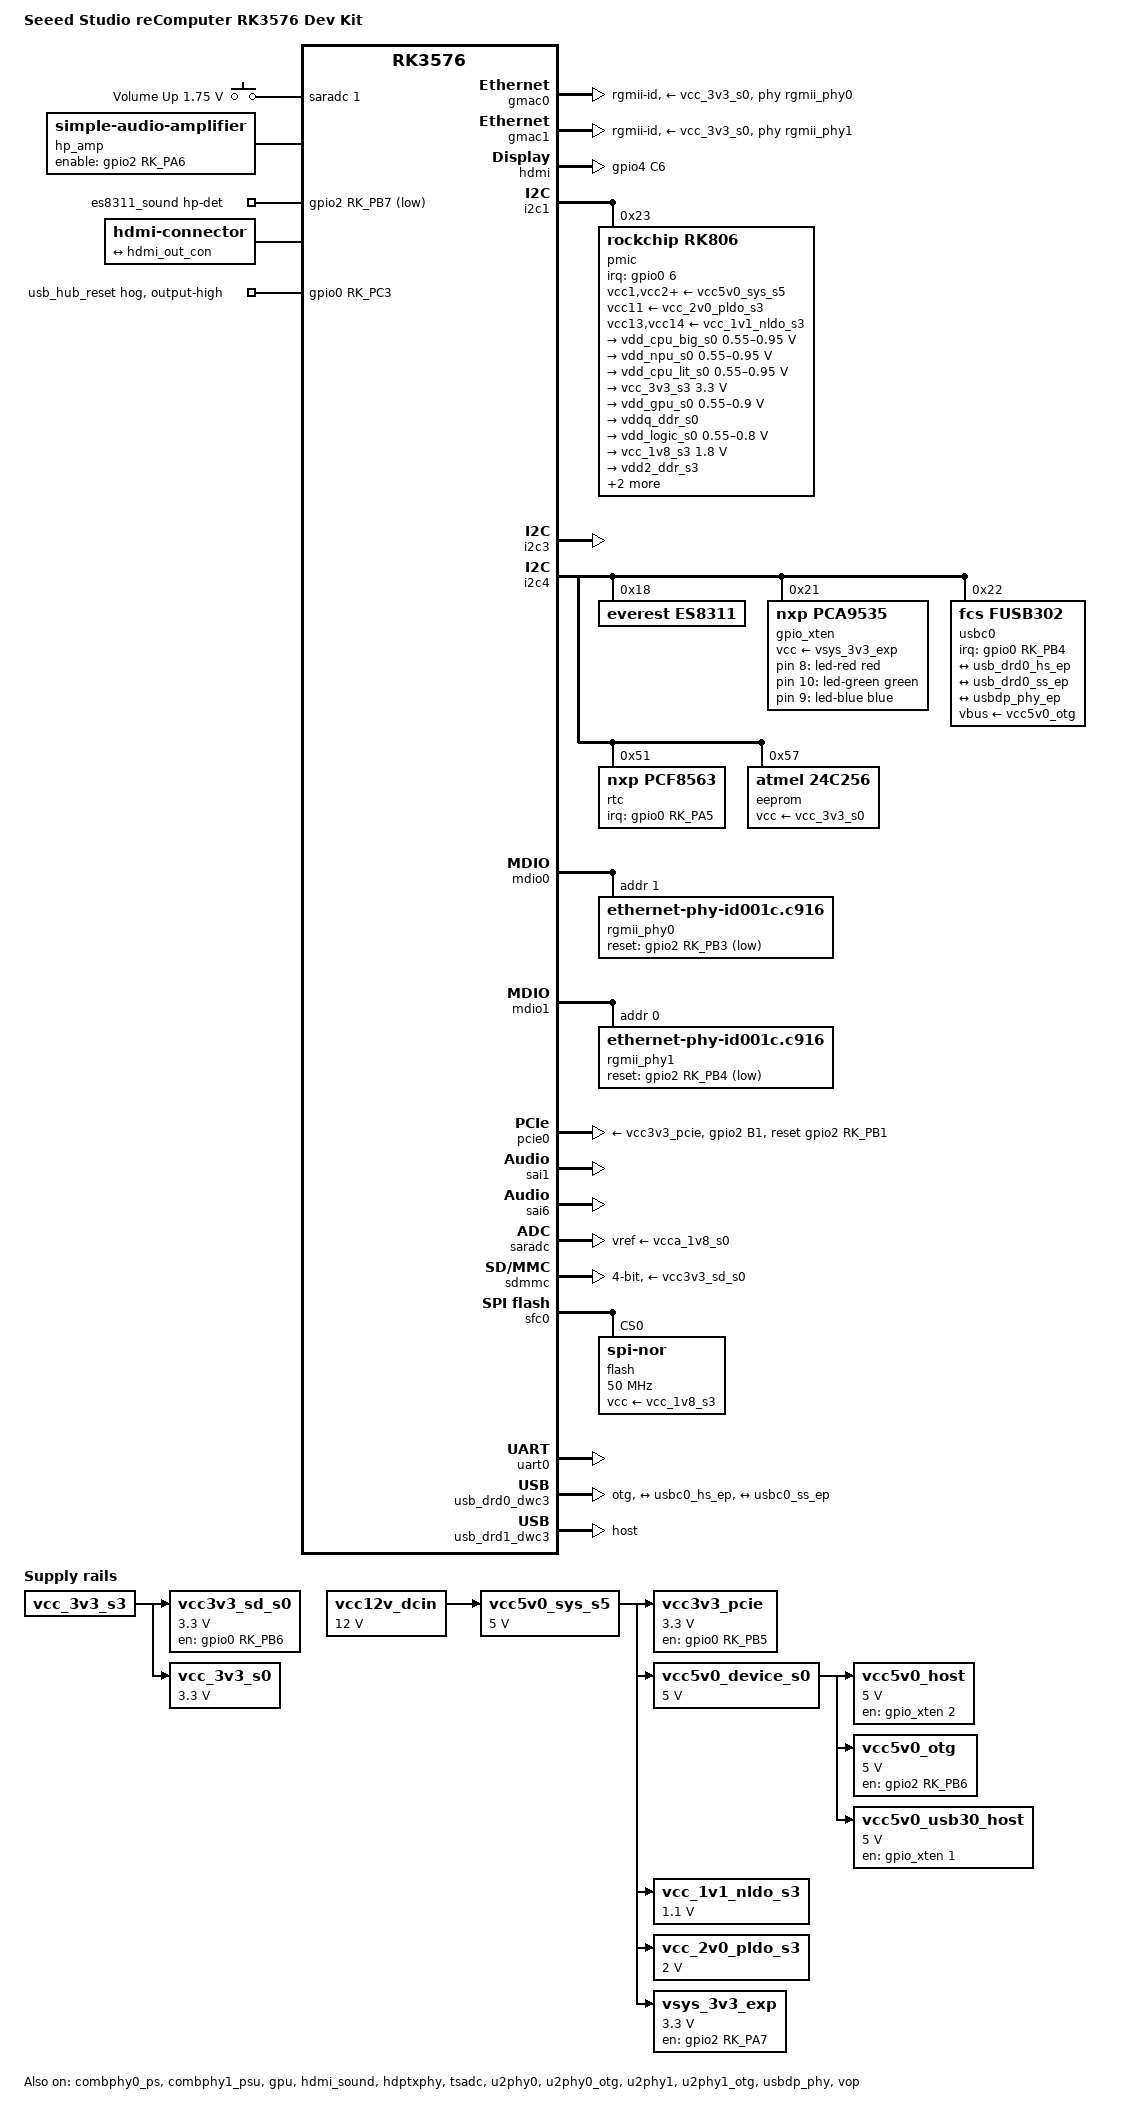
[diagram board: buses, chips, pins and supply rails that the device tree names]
// SPDX-License-Identifier: (GPL-2.0+ OR MIT)
/*
 * Copyright (c) 2026 Ricardo Pardini <ricardo@pardini.net>
 */

/dts-v1/;

#include <dt-bindings/gpio/gpio.h>
#include <dt-bindings/input/input.h>
#include <dt-bindings/leds/common.h>
#include <dt-bindings/pinctrl/rockchip.h>
#include <dt-bindings/soc/rockchip,vop2.h>
#include <dt-bindings/usb/pd.h>
#include "rk3576.dtsi"

/ {
	model = "Seeed Studio reComputer RK3576 Dev Kit";
	compatible = "seeed,recomputer-rk3576-devkit", "rockchip,rk3576";

	adc-keys {
		compatible = "adc-keys";
		io-channels = <&saradc 1>;
		io-channel-names = "buttons";
		keyup-threshold-microvolt = <1800000>;

		button-vol-up {
			label = "Volume Up";
			linux,code = <KEY_VOLUMEUP>;
			press-threshold-microvolt = <1750000>;
		};
	};

	aliases {
		ethernet0 = &gmac0;
		ethernet1 = &gmac1;
		mmc0 = &sdmmc;
	};

	/* Headphone output switch (ES8311 differential OUT to the jack). */
	hp_amp: audio-amplifier {
		compatible = "simple-audio-amplifier";
		enable-gpios = <&gpio2 RK_PA6 GPIO_ACTIVE_HIGH>;
		pinctrl-names = "default";
		pinctrl-0 = <&hp_con>;
		sound-name-prefix = "Headphone Amp";
	};

	chosen {
		stdout-path = "serial0:1500000n8";
	};

	es8311_sound: es8311-sound {
		compatible = "simple-audio-card";
		pinctrl-names = "default";
		pinctrl-0 = <&hp_det>;
		simple-audio-card,name = "reComputer ES8311";
		simple-audio-card,format = "i2s";
		simple-audio-card,mclk-fs = <256>;
		simple-audio-card,aux-devs = <&hp_amp>;
		simple-audio-card,hp-det-gpios = <&gpio2 RK_PB7 GPIO_ACTIVE_LOW>;
		simple-audio-card,widgets = "Headphone", "Headphones",
					    "Microphone", "Headset Mic";
		simple-audio-card,routing = "Headphones", "Headphone Amp OUTL",
					    "Headphones", "Headphone Amp OUTR",
					    "Headphone Amp INL", "OUT",
					    "Headphone Amp INR", "OUT",
					    "MIC1", "Headset Mic";

		simple-audio-card,cpu {
			sound-dai = <&sai1>;
		};

		simple-audio-card,codec {
			sound-dai = <&es8311>;
			system-clock-frequency = <12288000>;
		};
	};

	hdmi-con {
		compatible = "hdmi-connector";
		type = "a";

		port {
			hdmi_con_in: endpoint {
				remote-endpoint = <&hdmi_out_con>;
			};
		};
	};

	/*
	 * LED2 is a common-anode RGB LED tied to vsys_3v3_exp; each colour is
	 * switched by an NMOS driven from the on-board PCA9535 GPIO expander.
	 */
	leds {
		compatible = "gpio-leds";

		led-red {
			color = <LED_COLOR_ID_RED>;
			function = LED_FUNCTION_INDICATOR;
			gpios = <&gpio_xten 8 GPIO_ACTIVE_HIGH>;
		};

		led-green {
			color = <LED_COLOR_ID_GREEN>;
			function = LED_FUNCTION_INDICATOR;
			gpios = <&gpio_xten 10 GPIO_ACTIVE_HIGH>;
		};

		led-blue {
			color = <LED_COLOR_ID_BLUE>;
			function = LED_FUNCTION_HEARTBEAT;
			gpios = <&gpio_xten 9 GPIO_ACTIVE_HIGH>;
			linux,default-trigger = "heartbeat";
		};
	};

	/* Not for u-boot yet -- unmerged stuff in mainline kernel
	fan: pwm-fan {
		compatible = "pwm-fan";
		cooling-levels = <0 32 48 72 96>;
		fan-supply = <&vcc5v0_device_s0>;
		interrupt-parent = <&gpio3>;
		interrupts = <RK_PC5 IRQ_TYPE_EDGE_RISING>;
		pinctrl-names = "default";
		pinctrl-0 = <&fan_tach>;
		pulses-per-revolution = <4>;
		pwms = <&pwm0_2ch_0 0 60000 0>;
		#cooling-cells = <2>;
	};
	*/

	vcc12v_dcin: regulator-vcc12v-dcin {
		compatible = "regulator-fixed";
		regulator-always-on;
		regulator-boot-on;
		regulator-min-microvolt = <12000000>;
		regulator-max-microvolt = <12000000>;
		regulator-name = "vcc12v_dcin";
	};

	vcc3v3_pcie: regulator-vcc3v3-pcie {
		compatible = "regulator-fixed";
		enable-active-high;
		gpio = <&gpio0 RK_PB5 GPIO_ACTIVE_HIGH>;
		pinctrl-names = "default";
		pinctrl-0 = <&pcie_pwr_en>;
		regulator-min-microvolt = <3300000>;
		regulator-max-microvolt = <3300000>;
		regulator-name = "vcc3v3_pcie";
		startup-delay-us = <5000>;
		vin-supply = <&vcc5v0_sys_s5>;
	};

	vcc3v3_sd_s0: regulator-vcc3v3-sd-s0 {
		compatible = "regulator-fixed";
		enable-active-high;
		gpios = <&gpio0 RK_PB6 GPIO_ACTIVE_HIGH>;
		pinctrl-names = "default";
		pinctrl-0 = <&sdmmc_pwr_en>;
		regulator-boot-on;
		regulator-min-microvolt = <3300000>;
		regulator-max-microvolt = <3300000>;
		regulator-name = "vcc3v3_sd_s0";
		vin-supply = <&vcc_3v3_s3>;
	};

	vcc5v0_device_s0: regulator-vcc5v0-device-s0 {
		compatible = "regulator-fixed";
		regulator-always-on;
		regulator-boot-on;
		regulator-min-microvolt = <5000000>;
		regulator-max-microvolt = <5000000>;
		regulator-name = "vcc5v0_device_s0";
		vin-supply = <&vcc5v0_sys_s5>;
	};

	vcc5v0_host: regulator-vcc5v0-host {
		compatible = "regulator-fixed";
		enable-active-high;
		gpio = <&gpio_xten 2 GPIO_ACTIVE_HIGH>;
		regulator-always-on;
		regulator-boot-on;
		regulator-min-microvolt = <5000000>;
		regulator-max-microvolt = <5000000>;
		regulator-name = "vcc5v0_host";
		vin-supply = <&vcc5v0_device_s0>;
	};

	vcc5v0_otg: regulator-vcc5v0-otg {
		compatible = "regulator-fixed";
		enable-active-high;
		gpio = <&gpio2 RK_PB6 GPIO_ACTIVE_HIGH>;
		pinctrl-names = "default";
		pinctrl-0 = <&vcc5v0_otg_en>;
		regulator-min-microvolt = <5000000>;
		regulator-max-microvolt = <5000000>;
		regulator-name = "vcc5v0_otg";
		vin-supply = <&vcc5v0_device_s0>;
	};

	vcc5v0_sys_s5: regulator-vcc5v0-sys-s5 {
		compatible = "regulator-fixed";
		regulator-always-on;
		regulator-boot-on;
		regulator-min-microvolt = <5000000>;
		regulator-max-microvolt = <5000000>;
		regulator-name = "vcc5v0_sys_s5";
		vin-supply = <&vcc12v_dcin>;
	};

	vcc5v0_usb30_host: regulator-vcc5v0-usb30-host {
		compatible = "regulator-fixed";
		enable-active-high;
		gpio = <&gpio_xten 1 GPIO_ACTIVE_HIGH>;
		regulator-always-on;
		regulator-boot-on;
		regulator-min-microvolt = <5000000>;
		regulator-max-microvolt = <5000000>;
		regulator-name = "vcc5v0_usb30_host";
		vin-supply = <&vcc5v0_device_s0>;
	};

	vcc_1v1_nldo_s3: regulator-vcc-1v1-nldo-s3 {
		compatible = "regulator-fixed";
		regulator-always-on;
		regulator-boot-on;
		regulator-min-microvolt = <1100000>;
		regulator-max-microvolt = <1100000>;
		regulator-name = "vcc_1v1_nldo_s3";
		vin-supply = <&vcc5v0_sys_s5>;
	};

	vcc_2v0_pldo_s3: regulator-vcc-2v0-pldo-s3 {
		compatible = "regulator-fixed";
		regulator-always-on;
		regulator-boot-on;
		regulator-min-microvolt = <2000000>;
		regulator-max-microvolt = <2000000>;
		regulator-name = "vcc_2v0_pldo_s3";
		vin-supply = <&vcc5v0_sys_s5>;
	};

	vcc_3v3_s0: regulator-vcc-3v3-s0 {
		compatible = "regulator-fixed";
		regulator-always-on;
		regulator-boot-on;
		regulator-min-microvolt = <3300000>;
		regulator-max-microvolt = <3300000>;
		regulator-name = "vcc_3v3_s0";
		vin-supply = <&vcc_3v3_s3>;
	};

	vsys_3v3_exp: regulator-vsys-3v3-exp {
		compatible = "regulator-fixed";
		enable-active-high;
		gpios = <&gpio2 RK_PA7 GPIO_ACTIVE_HIGH>;
		pinctrl-names = "default";
		pinctrl-0 = <&vsys_3v3_exp_en>;
		regulator-always-on;
		regulator-boot-on;
		regulator-min-microvolt = <3300000>;
		regulator-max-microvolt = <3300000>;
		regulator-name = "vsys_3v3_exp";
		vin-supply = <&vcc5v0_sys_s5>;
	};
};

&combphy0_ps {
	status = "okay";
};

&combphy1_psu {
	status = "okay";
};

&cpu_b0 {
	cpu-supply = <&vdd_cpu_big_s0>;
};

&cpu_b1 {
	cpu-supply = <&vdd_cpu_big_s0>;
};

&cpu_b2 {
	cpu-supply = <&vdd_cpu_big_s0>;
};

&cpu_b3 {
	cpu-supply = <&vdd_cpu_big_s0>;
};

&cpu_l0 {
	cpu-supply = <&vdd_cpu_lit_s0>;
};

&cpu_l1 {
	cpu-supply = <&vdd_cpu_lit_s0>;
};

&cpu_l2 {
	cpu-supply = <&vdd_cpu_lit_s0>;
};

&cpu_l3 {
	cpu-supply = <&vdd_cpu_lit_s0>;
};

&gmac0 {
	clock_in_out = "output";
	phy-handle = <&rgmii_phy0>;
	phy-mode = "rgmii-id";
	phy-supply = <&vcc_3v3_s0>;
	pinctrl-names = "default";
	pinctrl-0 = <&eth0m0_miim
		     &eth0m0_tx_bus2
		     &eth0m0_rx_bus2
		     &eth0m0_rgmii_clk
		     &eth0m0_rgmii_bus>;
	status = "okay";
};

&gmac1 {
	clock_in_out = "output";
	phy-handle = <&rgmii_phy1>;
	phy-mode = "rgmii-id";
	phy-supply = <&vcc_3v3_s0>;
	pinctrl-names = "default";
	pinctrl-0 = <&eth1m0_miim
		     &eth1m0_tx_bus2
		     &eth1m0_rx_bus2
		     &eth1m0_rgmii_clk
		     &eth1m0_rgmii_bus>;
	status = "okay";
};

&gpio0 {
	/* Hold the on-board USB 2.0 hub out of reset. */
	usb-hub-reset-hog {
		gpio-hog;
		gpios = <RK_PC3 GPIO_ACTIVE_HIGH>;
		output-high;
		line-name = "usb_hub_reset";
	};
};

&gpu {
	mali-supply = <&vdd_gpu_s0>;
	status = "okay";
};

&hdmi {
	frl-enable-gpios = <&gpio4 RK_PC6 GPIO_ACTIVE_LOW>;
	pinctrl-names = "default";
	pinctrl-0 = <&hdmi_txm0_pins &hdmi_tx_scl &hdmi_tx_sda &hdmi_tx_on_h>;
	status = "okay";
};

&hdmi_in {
	hdmi_in_vp0: endpoint {
		remote-endpoint = <&vp0_out_hdmi>;
	};
};

&hdmi_out {
	hdmi_out_con: endpoint {
		remote-endpoint = <&hdmi_con_in>;
	};
};

&hdmi_sound {
	status = "okay";
};

&hdptxphy {
	status = "okay";
};

&i2c1 {
	status = "okay";

	pmic@23 {
		compatible = "rockchip,rk806";
		reg = <0x23>;
		#gpio-cells = <2>;
		gpio-controller;
		interrupt-parent = <&gpio0>;
		interrupts = <6 IRQ_TYPE_LEVEL_LOW>;
		pinctrl-names = "default";
		pinctrl-0 = <&pmic_pins
			     &rk806_dvs1_null
			     &rk806_dvs2_null
			     &rk806_dvs3_null>;
		system-power-controller;
		vcc1-supply = <&vcc5v0_sys_s5>;
		vcc2-supply = <&vcc5v0_sys_s5>;
		vcc3-supply = <&vcc5v0_sys_s5>;
		vcc4-supply = <&vcc5v0_sys_s5>;
		vcc5-supply = <&vcc5v0_sys_s5>;
		vcc6-supply = <&vcc5v0_sys_s5>;
		vcc7-supply = <&vcc5v0_sys_s5>;
		vcc8-supply = <&vcc5v0_sys_s5>;
		vcc9-supply = <&vcc5v0_sys_s5>;
		vcc10-supply = <&vcc5v0_sys_s5>;
		vcc11-supply = <&vcc_2v0_pldo_s3>;
		vcc12-supply = <&vcc5v0_sys_s5>;
		vcc13-supply = <&vcc_1v1_nldo_s3>;
		vcc14-supply = <&vcc_1v1_nldo_s3>;
		vcca-supply = <&vcc5v0_sys_s5>;

		rk806_dvs1_null: dvs1-null-pins {
			pins = "gpio_pwrctrl1";
			function = "pin_fun0";
		};

		rk806_dvs1_pwrdn: dvs1-pwrdn-pins {
			pins = "gpio_pwrctrl1";
			function = "pin_fun2";
		};

		rk806_dvs1_rst: dvs1-rst-pins {
			pins = "gpio_pwrctrl1";
			function = "pin_fun3";
		};

		rk806_dvs1_slp: dvs1-slp-pins {
			pins = "gpio_pwrctrl1";
			function = "pin_fun1";
		};

		rk806_dvs2_dvs: dvs2-dvs-pins {
			pins = "gpio_pwrctrl2";
			function = "pin_fun4";
		};

		rk806_dvs2_gpio: dvs2-gpio-pins {
			pins = "gpio_pwrctrl2";
			function = "pin_fun5";
		};

		rk806_dvs2_null: dvs2-null-pins {
			pins = "gpio_pwrctrl2";
			function = "pin_fun0";
		};

		rk806_dvs2_pwrdn: dvs2-pwrdn-pins {
			pins = "gpio_pwrctrl2";
			function = "pin_fun2";
		};

		rk806_dvs2_rst: dvs2-rst-pins {
			pins = "gpio_pwrctrl2";
			function = "pin_fun3";
		};

		rk806_dvs2_slp: dvs2-slp-pins {
			pins = "gpio_pwrctrl2";
			function = "pin_fun1";
		};

		rk806_dvs3_dvs: dvs3-dvs-pins {
			pins = "gpio_pwrctrl3";
			function = "pin_fun4";
		};

		rk806_dvs3_gpio: dvs3-gpio-pins {
			pins = "gpio_pwrctrl3";
			function = "pin_fun5";
		};

		rk806_dvs3_null: dvs3-null-pins {
			pins = "gpio_pwrctrl3";
			function = "pin_fun0";
		};

		rk806_dvs3_pwrdn: dvs3-pwrdn-pins {
			pins = "gpio_pwrctrl3";
			function = "pin_fun2";
		};

		rk806_dvs3_rst: dvs3-rst-pins {
			pins = "gpio_pwrctrl3";
			function = "pin_fun3";
		};

		rk806_dvs3_slp: dvs3-slp-pins {
			pins = "gpio_pwrctrl3";
			function = "pin_fun1";
		};

		regulators {
			vdd_cpu_big_s0: dcdc-reg1 {
				regulator-always-on;
				regulator-boot-on;
				regulator-enable-ramp-delay = <400>;
				regulator-min-microvolt = <550000>;
				regulator-max-microvolt = <950000>;
				regulator-name = "vdd_cpu_big_s0";
				regulator-ramp-delay = <12500>;
				regulator-state-mem {
					regulator-off-in-suspend;
				};
			};

			vdd_npu_s0: dcdc-reg2 {
				regulator-boot-on;
				regulator-enable-ramp-delay = <400>;
				regulator-min-microvolt = <550000>;
				regulator-max-microvolt = <950000>;
				regulator-name = "vdd_npu_s0";
				regulator-ramp-delay = <12500>;
				regulator-state-mem {
					regulator-off-in-suspend;
				};
			};

			vdd_cpu_lit_s0: dcdc-reg3 {
				regulator-always-on;
				regulator-boot-on;
				regulator-min-microvolt = <550000>;
				regulator-max-microvolt = <950000>;
				regulator-name = "vdd_cpu_lit_s0";
				regulator-ramp-delay = <12500>;
				regulator-state-mem {
					regulator-off-in-suspend;
					regulator-suspend-microvolt = <750000>;
				};
			};

			vcc_3v3_s3: dcdc-reg4 {
				regulator-always-on;
				regulator-boot-on;
				regulator-min-microvolt = <3300000>;
				regulator-max-microvolt = <3300000>;
				regulator-name = "vcc_3v3_s3";
				regulator-state-mem {
					regulator-on-in-suspend;
					regulator-suspend-microvolt = <3300000>;
				};
			};

			vdd_gpu_s0: dcdc-reg5 {
				regulator-boot-on;
				regulator-enable-ramp-delay = <400>;
				regulator-min-microvolt = <550000>;
				regulator-max-microvolt = <900000>;
				regulator-name = "vdd_gpu_s0";
				regulator-ramp-delay = <12500>;
				regulator-state-mem {
					regulator-off-in-suspend;
					regulator-suspend-microvolt = <850000>;
				};
			};

			vddq_ddr_s0: dcdc-reg6 {
				regulator-always-on;
				regulator-boot-on;
				regulator-name = "vddq_ddr_s0";
				regulator-state-mem {
					regulator-off-in-suspend;
				};
			};

			vdd_logic_s0: dcdc-reg7 {
				regulator-always-on;
				regulator-boot-on;
				regulator-min-microvolt = <550000>;
				regulator-max-microvolt = <800000>;
				regulator-name = "vdd_logic_s0";
				regulator-state-mem {
					regulator-off-in-suspend;
				};
			};

			vcc_1v8_s3: dcdc-reg8 {
				regulator-always-on;
				regulator-boot-on;
				regulator-min-microvolt = <1800000>;
				regulator-max-microvolt = <1800000>;
				regulator-name = "vcc_1v8_s3";
				regulator-state-mem {
					regulator-on-in-suspend;
					regulator-suspend-microvolt = <1800000>;
				};
			};

			vdd2_ddr_s3: dcdc-reg9 {
				regulator-always-on;
				regulator-boot-on;
				regulator-name = "vdd2_ddr_s3";
				regulator-state-mem {
					regulator-on-in-suspend;
				};
			};

			vdd_ddr_s0: dcdc-reg10 {
				regulator-always-on;
				regulator-boot-on;
				regulator-min-microvolt = <550000>;
				regulator-max-microvolt = <1200000>;
				regulator-name = "vdd_ddr_s0";
				regulator-state-mem {
					regulator-off-in-suspend;
				};
			};

			vcca_1v8_s0: pldo-reg1 {
				regulator-always-on;
				regulator-boot-on;
				regulator-min-microvolt = <1800000>;
				regulator-max-microvolt = <1800000>;
				regulator-name = "vcca_1v8_s0";
				regulator-state-mem {
					regulator-off-in-suspend;
				};
			};

			vcca1v8_pldo2_s0: pldo-reg2 {
				regulator-always-on;
				regulator-boot-on;
				regulator-min-microvolt = <1800000>;
				regulator-max-microvolt = <1800000>;
				regulator-name = "vcca1v8_pldo2_s0";
				regulator-state-mem {
					regulator-off-in-suspend;
				};
			};

			vdda_1v2_s0: pldo-reg3 {
				regulator-always-on;
				regulator-boot-on;
				regulator-min-microvolt = <1200000>;
				regulator-max-microvolt = <1200000>;
				regulator-name = "vdda_1v2_s0";
				regulator-state-mem {
					regulator-off-in-suspend;
				};
			};

			vcca_3v3_s0: pldo-reg4 {
				regulator-always-on;
				regulator-boot-on;
				regulator-min-microvolt = <3300000>;
				regulator-max-microvolt = <3300000>;
				regulator-name = "vcca_3v3_s0";
				regulator-state-mem {
					regulator-off-in-suspend;
				};
			};

			vccio_sd_s0: pldo-reg5 {
				regulator-always-on;
				regulator-boot-on;
				regulator-min-microvolt = <1800000>;
				regulator-max-microvolt = <3300000>;
				regulator-name = "vccio_sd_s0";
				regulator-state-mem {
					regulator-off-in-suspend;
				};
			};

			vcca1v8_pldo6_s3: pldo-reg6 {
				regulator-always-on;
				regulator-boot-on;
				regulator-min-microvolt = <1800000>;
				regulator-max-microvolt = <1800000>;
				regulator-name = "vcca1v8_pldo6_s3";
				regulator-state-mem {
					regulator-on-in-suspend;
					regulator-suspend-microvolt = <1800000>;
				};
			};

			vdd_0v75_s3: nldo-reg1 {
				regulator-always-on;
				regulator-boot-on;
				regulator-min-microvolt = <750000>;
				regulator-max-microvolt = <750000>;
				regulator-name = "vdd_0v75_s3";
				regulator-state-mem {
					regulator-on-in-suspend;
					regulator-suspend-microvolt = <750000>;
				};
			};

			vdda_ddr_pll_s0: nldo-reg2 {
				regulator-always-on;
				regulator-boot-on;
				regulator-min-microvolt = <850000>;
				regulator-max-microvolt = <850000>;
				regulator-name = "vdda_ddr_pll_s0";
				regulator-state-mem {
					regulator-off-in-suspend;
				};
			};

			vdda0v75_hdmi_s0: nldo-reg3 {
				regulator-always-on;
				regulator-boot-on;
				regulator-min-microvolt = <837500>;
				regulator-max-microvolt = <837500>;
				regulator-name = "vdda0v75_hdmi_s0";
				regulator-state-mem {
					regulator-off-in-suspend;
				};
			};

			vdda_0v85_s0: nldo-reg4 {
				regulator-always-on;
				regulator-boot-on;
				regulator-min-microvolt = <850000>;
				regulator-max-microvolt = <850000>;
				regulator-name = "vdda_0v85_s0";
				regulator-state-mem {
					regulator-off-in-suspend;
				};
			};

			vdda_0v75_s0: nldo-reg5 {
				regulator-always-on;
				regulator-boot-on;
				regulator-min-microvolt = <750000>;
				regulator-max-microvolt = <750000>;
				regulator-name = "vdda_0v75_s0";
				regulator-state-mem {
					regulator-off-in-suspend;
				};
			};
		};
	};
};

/* Exposed on the 40-pin header: pin 3 (SDA) and pin 5 (SCL). */
&i2c3 {
	pinctrl-names = "default";
	pinctrl-0 = <&i2c3m0_xfer>;
	status = "okay";
};

&i2c4 {
	pinctrl-names = "default";
	pinctrl-0 = <&i2c4m3_xfer>;
	status = "okay";

	es8311: audio-codec@18 {
		compatible = "everest,es8311";
		reg = <0x18>;
		clocks = <&cru CLK_SAI1_MCLKOUT_TO_IO>;
		clock-names = "mclk";
		assigned-clocks = <&cru CLK_SAI1_MCLKOUT_TO_IO>;
		assigned-clock-rates = <12288000>;
		#sound-dai-cells = <0>;
		pinctrl-names = "default";
		pinctrl-0 = <&sai1m0_mclk>;
	};

	gpio_xten: gpio@21 {
		compatible = "nxp,pca9535";
		reg = <0x21>;
		gpio-controller;
		#gpio-cells = <2>;
		gpio-line-names = "MIPI_DPHY_CSI0_IO1", "USB_USB30_PWREN_H",
				  "USB_HOST_PWREN_H", "BRD_ID_WP",
				  "LTE_RESET", "", "", "LoRaWan_SX1262_CS",
				  "USER_LED_R", "USER_LED_B", "USER_LED_G", "",
				  "", "", "", "";
		vcc-supply = <&vsys_3v3_exp>;
	};

	usbc0: typec-portc@22 {
		compatible = "fcs,fusb302";
		reg = <0x22>;
		interrupt-parent = <&gpio0>;
		interrupts = <RK_PB4 IRQ_TYPE_LEVEL_LOW>;
		pinctrl-names = "default";
		pinctrl-0 = <&usbc0_int>;
		vbus-supply = <&vcc5v0_otg>;

		connector {
			compatible = "usb-c-connector";
			label = "USB-C";
			data-role = "dual";
			power-role = "dual";
			try-power-role = "sink";
			op-sink-microwatt = <1000000>;
			sink-pdos = <PDO_FIXED(5000, 1000, PDO_FIXED_USB_COMM)>;
			source-pdos = <PDO_FIXED(5000, 3000, PDO_FIXED_USB_COMM)>;

			altmodes {
				displayport {
					svid = /bits/ 16 <0xff01>;
					vdo = <0xffffffff>;
				};
			};

			ports {
				#address-cells = <1>;
				#size-cells = <0>;

				port@0 {
					reg = <0>;
					usbc0_hs_ep: endpoint {
						remote-endpoint = <&usb_drd0_hs_ep>;
					};
				};

				port@1 {
					reg = <1>;
					usbc0_ss_ep: endpoint {
						remote-endpoint = <&usb_drd0_ss_ep>;
					};
				};

				port@2 {
					reg = <2>;
					usbc0_dp_ep: endpoint {
						remote-endpoint = <&usbdp_phy_ep>;
					};
				};
			};
		};
	};

	rtc@51 {
		compatible = "nxp,pcf8563";
		reg = <0x51>;
		#clock-cells = <0>;
		clock-output-names = "pcf8563";
		interrupt-parent = <&gpio0>;
		interrupts = <RK_PA5 IRQ_TYPE_LEVEL_LOW>;
		pinctrl-names = "default";
		pinctrl-0 = <&pcf8563_int>;
		wakeup-source;
	};

	eeprom@57 {
		compatible = "atmel,24c256";
		reg = <0x57>;
		pagesize = <16>;
		vcc-supply = <&vcc_3v3_s0>;
	};
};

&mdio0 {
	rgmii_phy0: ethernet-phy@1 {
		compatible = "ethernet-phy-id001c.c916";
		reg = <0x1>;
		pinctrl-names = "default";
		pinctrl-0 = <&gmac0_rstn>;
		realtek,clkout-disable;
		reset-assert-us = <20000>;
		reset-deassert-us = <100000>;
		reset-gpios = <&gpio2 RK_PB3 GPIO_ACTIVE_LOW>;
	};
};

&mdio1 {
	rgmii_phy1: ethernet-phy@0 {
		compatible = "ethernet-phy-id001c.c916";
		reg = <0x0>;
		pinctrl-names = "default";
		pinctrl-0 = <&gmac1_rstn>;
		realtek,clkout-disable;
		reset-assert-us = <20000>;
		reset-deassert-us = <100000>;
		reset-gpios = <&gpio2 RK_PB4 GPIO_ACTIVE_LOW>;
	};
};

/* not for uboot yet
&package_thermal {
	polling-delay = <1000>;

	trips {
		package_fan0: package-fan0 {
			temperature = <35000>;
			hysteresis = <2000>;
			type = "active";
		};

		package_fan1: package-fan1 {
			temperature = <45000>;
			hysteresis = <2000>;
			type = "active";
		};

		package_fan2: package-fan2 {
			temperature = <55000>;
			hysteresis = <2000>;
			type = "active";
		};

		package_fan3: package-fan3 {
			temperature = <65000>;
			hysteresis = <2000>;
			type = "active";
		};
	};

	cooling-maps {
		map-fan0 {
			trip = <&package_fan0>;
			cooling-device = <&fan 1 1>;
		};

		map-fan1 {
			trip = <&package_fan1>;
			cooling-device = <&fan 2 2>;
		};

		map-fan2 {
			trip = <&package_fan2>;
			cooling-device = <&fan 3 3>;
		};

		map-fan3 {
			trip = <&package_fan3>;
			cooling-device = <&fan 4 4>;
		};
	};
};
*/

&pcie0 {
	pinctrl-names = "default";
	pinctrl-0 = <&pcie_reset>;
	reset-gpios = <&gpio2 RK_PB1 GPIO_ACTIVE_HIGH>;
	vpcie3v3-supply = <&vcc3v3_pcie>;
	status = "okay";
};

&pinctrl {
	fan {
		fan_pwm: fan-pwm {
			/* Pull down so the fan is off while the PWM is disabled. */
			rockchip,pins = <3 RK_PB0 12 &pcfg_pull_down_drv_level_2>;
		};

		fan_tach: fan-tach {
			rockchip,pins = <3 RK_PC5 RK_FUNC_GPIO &pcfg_pull_up>;
		};
	};

	gmac {
		gmac0_rstn: gmac0-rstn {
			rockchip,pins = <2 RK_PB3 RK_FUNC_GPIO &pcfg_pull_none>;
		};

		gmac1_rstn: gmac1-rstn {
			rockchip,pins = <2 RK_PB4 RK_FUNC_GPIO &pcfg_pull_none>;
		};
	};

	gpio-exp {
		vsys_3v3_exp_en: vsys-3v3-exp-en {
			rockchip,pins = <2 RK_PA7 RK_FUNC_GPIO &pcfg_pull_none>;
		};
	};

	hdmi {
		hdmi_tx_on_h: hdmi-tx-on-h {
			rockchip,pins = <4 RK_PC6 RK_FUNC_GPIO &pcfg_pull_none>;
		};
	};

	headphone {
		hp_con: hp-con {
			rockchip,pins = <2 RK_PA6 RK_FUNC_GPIO &pcfg_pull_none>;
		};

		hp_det: hp-det {
			rockchip,pins = <2 RK_PB7 RK_FUNC_GPIO &pcfg_pull_up>;
		};
	};

	pcf8563 {
		pcf8563_int: pcf8563-int {
			rockchip,pins = <0 RK_PA5 RK_FUNC_GPIO &pcfg_pull_up>;
		};
	};

	pcie {
		pcie_pwr_en: pcie-pwr-en {
			rockchip,pins = <0 RK_PB5 RK_FUNC_GPIO &pcfg_pull_none>;
		};

		pcie_reset: pcie-reset {
			rockchip,pins = <2 RK_PB1 RK_FUNC_GPIO &pcfg_pull_none>;
		};
	};

	sdmmc {
		sdmmc_pwr_en: sdmmc-pwr-en {
			rockchip,pins = <0 RK_PB6 RK_FUNC_GPIO &pcfg_pull_none>;
		};
	};

	usb {
		vcc5v0_otg_en: vcc5v0-otg-en {
			rockchip,pins = <2 RK_PB6 RK_FUNC_GPIO &pcfg_pull_none>;
		};
	};

	usb-typec {
		usbc0_int: usbc0-int {
			rockchip,pins = <0 RK_PB4 RK_FUNC_GPIO &pcfg_pull_up>;
		};

		usbc0_sbu1: usbc0-sbu1 {
			rockchip,pins = <4 RK_PC4 RK_FUNC_GPIO &pcfg_pull_down>;
		};

		usbc0_sbu2: usbc0-sbu2 {
			rockchip,pins = <4 RK_PC5 RK_FUNC_GPIO &pcfg_pull_down>;
		};
	};
};

/* Not for u-boot yet -- unmerged stuff in mainline kernel
&pwm0_2ch_0 {
	pinctrl-names = "default";
	pinctrl-0 = <&fan_pwm>;
	status = "okay";
};
*/

&sai1 {
	pinctrl-names = "default";
	pinctrl-0 = <&sai1m0_lrck
		     &sai1m0_sclk
		     &sai1m0_sdi0
		     &sai1m0_sdo2>;
	rockchip,sai-rx-route = <0 1 2 3>;
	rockchip,sai-tx-route = <2 1 0 3>;
	status = "okay";
};

&sai6 {
	status = "okay";
};

&saradc {
	vref-supply = <&vcca_1v8_s0>;
	status = "okay";
};

&sdmmc {
	bus-width = <4>;
	cap-mmc-highspeed;
	cap-sd-highspeed;
	disable-wp;
	max-frequency = <200000000>;
	no-mmc;
	no-sdio;
	/* Card power is switched by the vcc3v3_sd_s0 regulator, not pwren. */
	pinctrl-names = "default";
	pinctrl-0 = <&sdmmc0_clk &sdmmc0_cmd &sdmmc0_det &sdmmc0_bus4>;
	sd-uhs-sdr104;
	vmmc-supply = <&vcc3v3_sd_s0>;
	vqmmc-supply = <&vccio_sd_s0>;
	status = "okay";
};

&sfc0 {
	pinctrl-names = "default";
	pinctrl-0 = <&fspi0_pins &fspi0_csn0>;
	status = "okay";

	flash@0 {
		compatible = "jedec,spi-nor";
		reg = <0>;
		spi-max-frequency = <50000000>;
		spi-rx-bus-width = <4>;
		spi-tx-bus-width = <1>;
		vcc-supply = <&vcc_1v8_s3>;
	};
};

/* miniPCIe slot: SPI3 and UART5 are muxed on the same pins, pick one. */
&spi3 {
	pinctrl-names = "default";
	pinctrl-0 = <&spi3m1_pins &spi3m1_csn1>;
	status = "disabled";
};

&tsadc {
	status = "okay";
};

/* miniPCIe slot: UART5 and SPI3 are muxed on the same pins, pick one. */
&uart5 {
	pinctrl-names = "default";
	pinctrl-0 = <&uart5m0_xfer &uart5m0_ctsn &uart5m0_rtsn>;
	uart-has-rtscts;
	status = "disabled";
};

&u2phy0 {
	status = "okay";
};

&u2phy0_otg {
	status = "okay";
};

&u2phy1 {
	status = "okay";
};

&u2phy1_otg {
	phy-supply = <&vcc5v0_usb30_host>;
	status = "okay";
};

&uart0 {
	pinctrl-0 = <&uart0m0_xfer>;
	pinctrl-names = "default";
	status = "okay";
};

&usb_drd0_dwc3 {
	dr_mode = "otg";
	usb-role-switch;
	status = "okay";

	ports {
		#address-cells = <1>;
		#size-cells = <0>;

		port@0 {
			reg = <0>;
			usb_drd0_hs_ep: endpoint {
				remote-endpoint = <&usbc0_hs_ep>;
			};
		};

		port@1 {
			reg = <1>;
			usb_drd0_ss_ep: endpoint {
				remote-endpoint = <&usbc0_ss_ep>;
			};
		};
	};
};

&usb_drd1_dwc3 {
	dr_mode = "host";
	status = "okay";
};

&usbdp_phy {
	mode-switch;
	orientation-switch;
	pinctrl-names = "default";
	pinctrl-0 = <&usbc0_sbu1 &usbc0_sbu2>;
	sbu1-dc-gpios = <&gpio4 RK_PC4 GPIO_ACTIVE_HIGH>;
	sbu2-dc-gpios = <&gpio4 RK_PC5 GPIO_ACTIVE_HIGH>;
	status = "okay";

	port {
		usbdp_phy_ep: endpoint {
			remote-endpoint = <&usbc0_dp_ep>;
		};
	};
};

&vop {
	status = "okay";
};

&vop_mmu {
	status = "okay";
};

&vp0 {
	vp0_out_hdmi: endpoint@ROCKCHIP_VOP2_EP_HDMI0 {
		reg = <ROCKCHIP_VOP2_EP_HDMI0>;
		remote-endpoint = <&hdmi_in_vp0>;
	};
};
